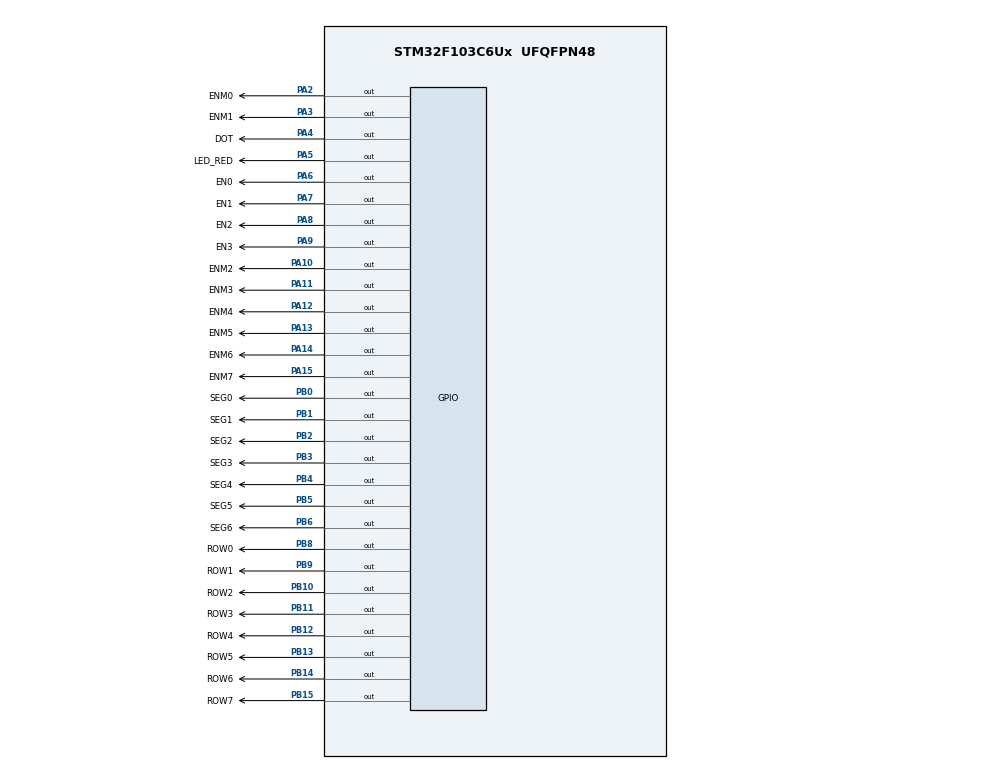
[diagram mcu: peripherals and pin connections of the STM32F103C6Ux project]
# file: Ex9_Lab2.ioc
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Mcu.Family=STM32F1
Mcu.Name=STM32F103C6Ux
Mcu.Package=UFQFPN48
NVIC.PriorityGroup=NVIC_PRIORITYGROUP_4
NVIC.TIM2_IRQn=true\:0\:0\:false\:false\:true\:true\:true\:true
PA10.GPIO_Label=ENM2
PA10.Signal=GPIO_Output
PA11.GPIO_Label=ENM3
PA11.Signal=GPIO_Output
PA12.GPIO_Label=ENM4
PA12.Signal=GPIO_Output
PA13.GPIO_Label=ENM5
PA13.Signal=GPIO_Output
PA14.GPIO_Label=ENM6
PA14.Signal=GPIO_Output
PA15.GPIO_Label=ENM7
PA15.Signal=GPIO_Output
PA2.GPIO_Label=ENM0
PA2.Signal=GPIO_Output
PA3.GPIO_Label=ENM1
PA3.Signal=GPIO_Output
PA4.GPIO_Label=DOT
PA4.Signal=GPIO_Output
PA5.GPIO_Label=LED_RED
PA5.Signal=GPIO_Output
PA6.GPIO_Label=EN0
PA6.Signal=GPIO_Output
PA7.GPIO_Label=EN1
PA7.Signal=GPIO_Output
PA8.GPIO_Label=EN2
PA8.Signal=GPIO_Output
PA9.GPIO_Label=EN3
PA9.Signal=GPIO_Output
PB0.GPIO_Label=SEG0
PB0.Signal=GPIO_Output
PB1.GPIO_Label=SEG1
PB1.Signal=GPIO_Output
PB10.GPIO_Label=ROW2
PB10.Signal=GPIO_Output
PB11.GPIO_Label=ROW3
PB11.Signal=GPIO_Output
PB12.GPIO_Label=ROW4
PB12.Signal=GPIO_Output
PB13.GPIO_Label=ROW5
PB13.Signal=GPIO_Output
PB14.GPIO_Label=ROW6
PB14.Signal=GPIO_Output
PB15.GPIO_Label=ROW7
PB15.Signal=GPIO_Output
PB2.GPIO_Label=SEG2
PB2.Signal=GPIO_Output
PB3.GPIO_Label=SEG3
PB3.Signal=GPIO_Output
PB4.GPIO_Label=SEG4
PB4.Signal=GPIO_Output
PB5.GPIO_Label=SEG5
PB5.Signal=GPIO_Output
PB6.GPIO_Label=SEG6
PB6.Signal=GPIO_Output
PB8.GPIO_Label=ROW0
PB8.Signal=GPIO_Output
PB9.GPIO_Label=ROW1
PB9.Signal=GPIO_Output
ProjectManager.HeapSize=0x200
ProjectManager.StackSize=0x400
ProjectManager.TargetToolchain=STM32CubeIDE
RCC.APB1Freq_Value=8000000
RCC.APB2Freq_Value=8000000
TIM2.Period=9
TIM2.Prescaler=7999
VP_TIM2_VS_ClockSourceINT.Mode=Internal
board=custom

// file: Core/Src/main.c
/* USER CODE BEGIN Header */
/**
  ******************************************************************************
  * @file           : main.c
  * @brief          : Main program body
  ******************************************************************************
  * @attention
  *
  * Copyright (c) 2022 STMicroelectronics.
  * All rights reserved.
  *
  * This software is licensed under terms that can be found in the LICENSE file
  * in the root directory of this software component.
  * If no LICENSE file comes with this software, it is provided AS-IS.
  *
  ******************************************************************************
  */
/* USER CODE END Header */
#include "main.h"

/* USER CODE BEGIN Includes */
#include "SoftwareTimer.h"
/* USER CODE END Includes */

TIM_HandleTypeDef htim2;

void SystemClock_Config(void);
static void MX_GPIO_Init(void);
static void MX_TIM2_Init(void);
/* USER CODE BEGIN PFP */
void displayColumn(uint8_t number){
	HAL_GPIO_WritePin(ROW0_GPIO_Port, ROW0_Pin, (number&0x1));
	number=number>>1;
	HAL_GPIO_WritePin(ROW1_GPIO_Port, ROW1_Pin, (number&0x1));
	number=number>>1;
	HAL_GPIO_WritePin(ROW2_GPIO_Port, ROW2_Pin, (number&0x1));
	number=number>>1;
	HAL_GPIO_WritePin(ROW3_GPIO_Port, ROW3_Pin, (number&0x1));
	number=number>>1;
	HAL_GPIO_WritePin(ROW4_GPIO_Port, ROW4_Pin, (number&0x1));
	number=number>>1;
	HAL_GPIO_WritePin(ROW5_GPIO_Port, ROW5_Pin, (number&0x1));
	number=number>>1;
	HAL_GPIO_WritePin(ROW6_GPIO_Port, ROW6_Pin, (number&0x1));
	number=number>>1;
	HAL_GPIO_WritePin(ROW7_GPIO_Port, ROW7_Pin, (number&0x1));
}

const int MAX_LED_MATRIX=8;
int index_led_matrix=0;
uint8_t matrix_buffer[8]={0xFF,0x7,0xDB,0xDD,0xDD,0xDB,0x7,0xFF};
void updateLEDMatrix(int index){
	switch(index){
		case 0:
			HAL_GPIO_WritePin(ENM0_GPIO_Port, ENM0_Pin, 0);
			HAL_GPIO_WritePin(ENM7_GPIO_Port, ENM7_Pin, 1);  //TURN OFF PREVIOUS COLUMN
			displayColumn(matrix_buffer[0]);
			break;
		case 1:
			HAL_GPIO_WritePin(ENM1_GPIO_Port, ENM1_Pin, 0);
			HAL_GPIO_WritePin(ENM0_GPIO_Port, ENM0_Pin, 1);  //TURN OFF PREVIOUS COLUMN
			displayColumn(matrix_buffer[1]);
			break;
		case 2:
			HAL_GPIO_WritePin(ENM2_GPIO_Port, ENM2_Pin, 0);
			HAL_GPIO_WritePin(ENM1_GPIO_Port, ENM1_Pin, 1);  //TURN OFF PREVIOUS COLUMN
			displayColumn(matrix_buffer[2]);
			break;
		case 3:
			HAL_GPIO_WritePin(ENM3_GPIO_Port, ENM3_Pin, 0);
			HAL_GPIO_WritePin(ENM2_GPIO_Port, ENM2_Pin, 1);  //TURN OFF PREVIOUS COLUMN
			displayColumn(matrix_buffer[3]);
			break;
		case 4:
			HAL_GPIO_WritePin(ENM4_GPIO_Port, ENM4_Pin, 0);
			HAL_GPIO_WritePin(ENM3_GPIO_Port, ENM3_Pin, 1);  //TURN OFF PREVIOUS COLUMN
			displayColumn(matrix_buffer[4]);
			break;
		case 5:
			HAL_GPIO_WritePin(ENM5_GPIO_Port, ENM5_Pin, 0);
			HAL_GPIO_WritePin(ENM4_GPIO_Port, ENM4_Pin, 1);  //TURN OFF PREVIOUS COLUMN
			displayColumn(matrix_buffer[5]);
			break;
		case 6:
			HAL_GPIO_WritePin(ENM6_GPIO_Port, ENM6_Pin, 0);
			HAL_GPIO_WritePin(ENM5_GPIO_Port, ENM5_Pin, 1);  //TURN OFF PREVIOUS COLUMN
			displayColumn(matrix_buffer[6]);
			break;
		case 7:
			HAL_GPIO_WritePin(ENM7_GPIO_Port, ENM7_Pin, 0);
			HAL_GPIO_WritePin(ENM6_GPIO_Port, ENM6_Pin, 1);  //TURN OFF PREVIOUS COLUMN
			displayColumn(matrix_buffer[7]);
			break;
	}
}
/* USER CODE END PFP */

int main(void)
{

  /* MCU Configuration--------------------------------------------------------*/

  /* Reset of all peripherals, Initializes the Flash interface and the Systick. */
  HAL_Init();

  /* Configure the system clock */
  SystemClock_Config();

  /* Initialize all configured peripherals */
  MX_GPIO_Init();
  MX_TIM2_Init();
  /* USER CODE BEGIN 2 */
  //TURN OFF ALL LED

  HAL_TIM_Base_Start_IT(&htim2);
  //DISABLE ALL COLUMN
  HAL_GPIO_WritePin(ENM0_GPIO_Port, ENM0_Pin, 1);
  HAL_GPIO_WritePin(ENM1_GPIO_Port, ENM1_Pin, 1);
  HAL_GPIO_WritePin(ENM2_GPIO_Port, ENM2_Pin, 1);
  HAL_GPIO_WritePin(ENM3_GPIO_Port, ENM3_Pin, 1);
  HAL_GPIO_WritePin(ENM4_GPIO_Port, ENM4_Pin, 1);
  HAL_GPIO_WritePin(ENM5_GPIO_Port, ENM5_Pin, 1);
  HAL_GPIO_WritePin(ENM6_GPIO_Port, ENM6_Pin, 1);
  HAL_GPIO_WritePin(ENM7_GPIO_Port, ENM7_Pin, 1);
  /* USER CODE END 2 */

  /* Infinite loop */
  /* USER CODE BEGIN WHILE */
  setTimer1(50);
  while (1)
  {
	  if(timer1_flag==1){
		  setTimer1(50);

		  updateLEDMatrix(index_led_matrix);
		  index_led_matrix++;
		  if(index_led_matrix>=MAX_LED_MATRIX){
			  index_led_matrix=0;
		  }
	  }
    /* USER CODE END WHILE */

  }
}

void SystemClock_Config(void)
{
  RCC_OscInitTypeDef RCC_OscInitStruct = {0};
  RCC_ClkInitTypeDef RCC_ClkInitStruct = {0};

  /** Initializes the RCC Oscillators according to the specified parameters
  * in the RCC_OscInitTypeDef structure.
  */
  RCC_OscInitStruct.OscillatorType = RCC_OSCILLATORTYPE_HSI;
  RCC_OscInitStruct.HSIState = RCC_HSI_ON;
  RCC_OscInitStruct.HSICalibrationValue = RCC_HSICALIBRATION_DEFAULT;
  RCC_OscInitStruct.PLL.PLLState = RCC_PLL_NONE;
  if (HAL_RCC_OscConfig(&RCC_OscInitStruct) != HAL_OK)
  {
    Error_Handler();
  }

  /** Initializes the CPU, AHB and APB buses clocks
  */
  RCC_ClkInitStruct.ClockType = RCC_CLOCKTYPE_HCLK|RCC_CLOCKTYPE_SYSCLK
                              |RCC_CLOCKTYPE_PCLK1|RCC_CLOCKTYPE_PCLK2;
  RCC_ClkInitStruct.SYSCLKSource = RCC_SYSCLKSOURCE_HSI;
  RCC_ClkInitStruct.AHBCLKDivider = RCC_SYSCLK_DIV1;
  RCC_ClkInitStruct.APB1CLKDivider = RCC_HCLK_DIV1;
  RCC_ClkInitStruct.APB2CLKDivider = RCC_HCLK_DIV1;

  if (HAL_RCC_ClockConfig(&RCC_ClkInitStruct, FLASH_LATENCY_0) != HAL_OK)
  {
    Error_Handler();
  }
}

static void MX_TIM2_Init(void)
{

  TIM_ClockConfigTypeDef sClockSourceConfig = {0};
  TIM_MasterConfigTypeDef sMasterConfig = {0};

  htim2.Instance = TIM2;
  htim2.Init.Prescaler = 7999;
  htim2.Init.CounterMode = TIM_COUNTERMODE_UP;
  htim2.Init.Period = 9;
  htim2.Init.ClockDivision = TIM_CLOCKDIVISION_DIV1;
  htim2.Init.AutoReloadPreload = TIM_AUTORELOAD_PRELOAD_DISABLE;
  if (HAL_TIM_Base_Init(&htim2) != HAL_OK)
  {
    Error_Handler();
  }
  sClockSourceConfig.ClockSource = TIM_CLOCKSOURCE_INTERNAL;
  if (HAL_TIM_ConfigClockSource(&htim2, &sClockSourceConfig) != HAL_OK)
  {
    Error_Handler();
  }
  sMasterConfig.MasterOutputTrigger = TIM_TRGO_RESET;
  sMasterConfig.MasterSlaveMode = TIM_MASTERSLAVEMODE_DISABLE;
  if (HAL_TIMEx_MasterConfigSynchronization(&htim2, &sMasterConfig) != HAL_OK)
  {
    Error_Handler();
  }

}

static void MX_GPIO_Init(void)
{
  GPIO_InitTypeDef GPIO_InitStruct = {0};

  /* GPIO Ports Clock Enable */
  __HAL_RCC_GPIOA_CLK_ENABLE();
  __HAL_RCC_GPIOB_CLK_ENABLE();

  /*Configure GPIO pin Output Level */
  HAL_GPIO_WritePin(GPIOA, ENM0_Pin|ENM1_Pin|DOT_Pin|LED_RED_Pin
                          |EN0_Pin|EN1_Pin|EN2_Pin|EN3_Pin
                          |ENM2_Pin|ENM3_Pin|ENM4_Pin|ENM5_Pin
                          |ENM6_Pin|ENM7_Pin, GPIO_PIN_RESET);

  /*Configure GPIO pin Output Level */
  HAL_GPIO_WritePin(GPIOB, SEG0_Pin|SEG1_Pin|SEG2_Pin|ROW2_Pin
                          |ROW3_Pin|ROW4_Pin|ROW5_Pin|ROW6_Pin
                          |ROW7_Pin|SEG3_Pin|SEG4_Pin|SEG5_Pin
                          |SEG6_Pin|ROW0_Pin|ROW1_Pin, GPIO_PIN_RESET);

  /*Configure GPIO pins : ENM0_Pin ENM1_Pin DOT_Pin LED_RED_Pin
                           EN0_Pin EN1_Pin EN2_Pin EN3_Pin
                           ENM2_Pin ENM3_Pin ENM4_Pin ENM5_Pin
                           ENM6_Pin ENM7_Pin */
  GPIO_InitStruct.Pin = ENM0_Pin|ENM1_Pin|DOT_Pin|LED_RED_Pin
                          |EN0_Pin|EN1_Pin|EN2_Pin|EN3_Pin
                          |ENM2_Pin|ENM3_Pin|ENM4_Pin|ENM5_Pin
                          |ENM6_Pin|ENM7_Pin;
  GPIO_InitStruct.Mode = GPIO_MODE_OUTPUT_PP;
  GPIO_InitStruct.Pull = GPIO_NOPULL;
  GPIO_InitStruct.Speed = GPIO_SPEED_FREQ_LOW;
  HAL_GPIO_Init(GPIOA, &GPIO_InitStruct);

  /*Configure GPIO pins : SEG0_Pin SEG1_Pin SEG2_Pin ROW2_Pin
                           ROW3_Pin ROW4_Pin ROW5_Pin ROW6_Pin
                           ROW7_Pin SEG3_Pin SEG4_Pin SEG5_Pin
                           SEG6_Pin ROW0_Pin ROW1_Pin */
  GPIO_InitStruct.Pin = SEG0_Pin|SEG1_Pin|SEG2_Pin|ROW2_Pin
                          |ROW3_Pin|ROW4_Pin|ROW5_Pin|ROW6_Pin
                          |ROW7_Pin|SEG3_Pin|SEG4_Pin|SEG5_Pin
                          |SEG6_Pin|ROW0_Pin|ROW1_Pin;
  GPIO_InitStruct.Mode = GPIO_MODE_OUTPUT_PP;
  GPIO_InitStruct.Pull = GPIO_NOPULL;
  GPIO_InitStruct.Speed = GPIO_SPEED_FREQ_LOW;
  HAL_GPIO_Init(GPIOB, &GPIO_InitStruct);

}

/* USER CODE BEGIN 4 */
int counter_LED=25;

void HAL_TIM_PeriodElapsedCallback(TIM_HandleTypeDef*htim){
	TimerRun();
}
/* USER CODE END 4 */

void Error_Handler(void)
{
  __disable_irq();
  while (1)
  {
  }
}
